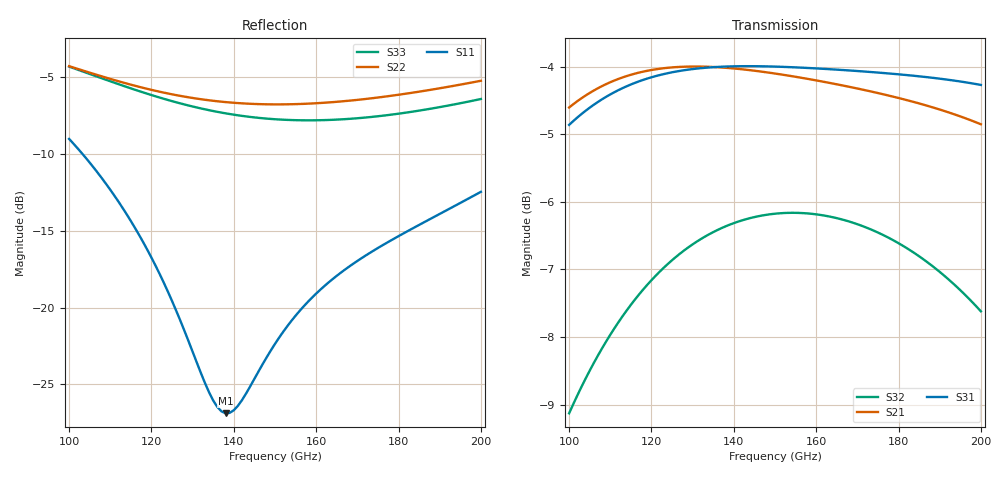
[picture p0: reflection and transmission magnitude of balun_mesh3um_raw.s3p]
#  GHZ S DB R 50.0
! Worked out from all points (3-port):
!   101 points, 100 GHz to 200 GHz, reference 50 ohm
!   strongest paths, dB at 100 GHz, 125 GHz, 150 GHz, 175 GHz, 200 GHz:
!     S31: -4.9, -4.1, -4.0, -4.1, -4.3
!     S21: -4.6, -4.0, -4.1, -4.4, -4.9
!     S32: -9.1, -6.9, -6.2, -6.5, -7.6
!   lowest |S11| = -26.9 dB at 138 GHz (marker M1), VSWR 1.09, Z = 46 + j1.67 ohm
!   |S11| at or under -10 dB: 103.3 GHz to end of sweep
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100  -9.00 125.0  -4.60 -15.8  -4.86 160.2
     -4.60 -15.8  -4.26 59.0  -9.13 88.8
     -4.86 160.2  -9.13 88.8  -4.29 48.5
117  -15.27 107.7  -4.09 -42.3  -4.22 132.0
     -4.09 -42.3  -5.61 44.6  -7.37 62.9
     -4.22 132.0  -7.37 62.9  -5.89 31.3
124  -18.97 107.3  -4.02 -52.4  -4.10 121.2
     -4.02 -52.4  -6.04 39.6  -6.92 52.9
     -4.10 121.2  -6.92 52.9  -6.47 25.3
134  -25.53 131.3  -4.00 -66.1  -4.01 106.5
     -4.00 -66.1  -6.49 32.9  -6.48 39.2
     -4.01 106.5  -6.48 39.2  -7.13 17.7
138  -26.89 156.3  -4.02 -71.3  -4.00 100.9
     -4.02 -71.3  -6.60 30.3  -6.36 34.0
     -4.00 100.9  -6.36 34.0  -7.34 14.8
142  -26.02 -179.6  -4.04 -76.5  -3.99 95.4
     -4.04 -76.5  -6.69 27.6  -6.27 28.8
     -3.99 95.4  -6.27 28.8  -7.50 11.9
150  -22.36 -157.7  -4.10 -86.5  -4.00 84.6
     -4.10 -86.5  -6.75 22.2  -6.18 18.7
     -4.00 84.6  -6.18 18.7  -7.72 6.3
160  -19.09 -151.9  -4.20 -98.7  -4.03 71.6
     -4.20 -98.7  -6.68 14.9  -6.18 6.4
     -4.03 71.6  -6.18 6.4  -7.79 -1.0
173  -16.44 -152.0  -4.36 -114.2  -4.08 55.0
     -4.36 -114.2  -6.37 4.5  -6.40 -9.3
     -4.08 55.0  -6.40 -9.3  -7.58 -11.2
200  -12.45 -157.6  -4.85 -146.9  -4.27 20.4
     -4.85 -146.9  -5.22 -21.2  -7.62 -41.8
     -4.27 20.4  -7.62 -41.8  -6.40 -36.1
